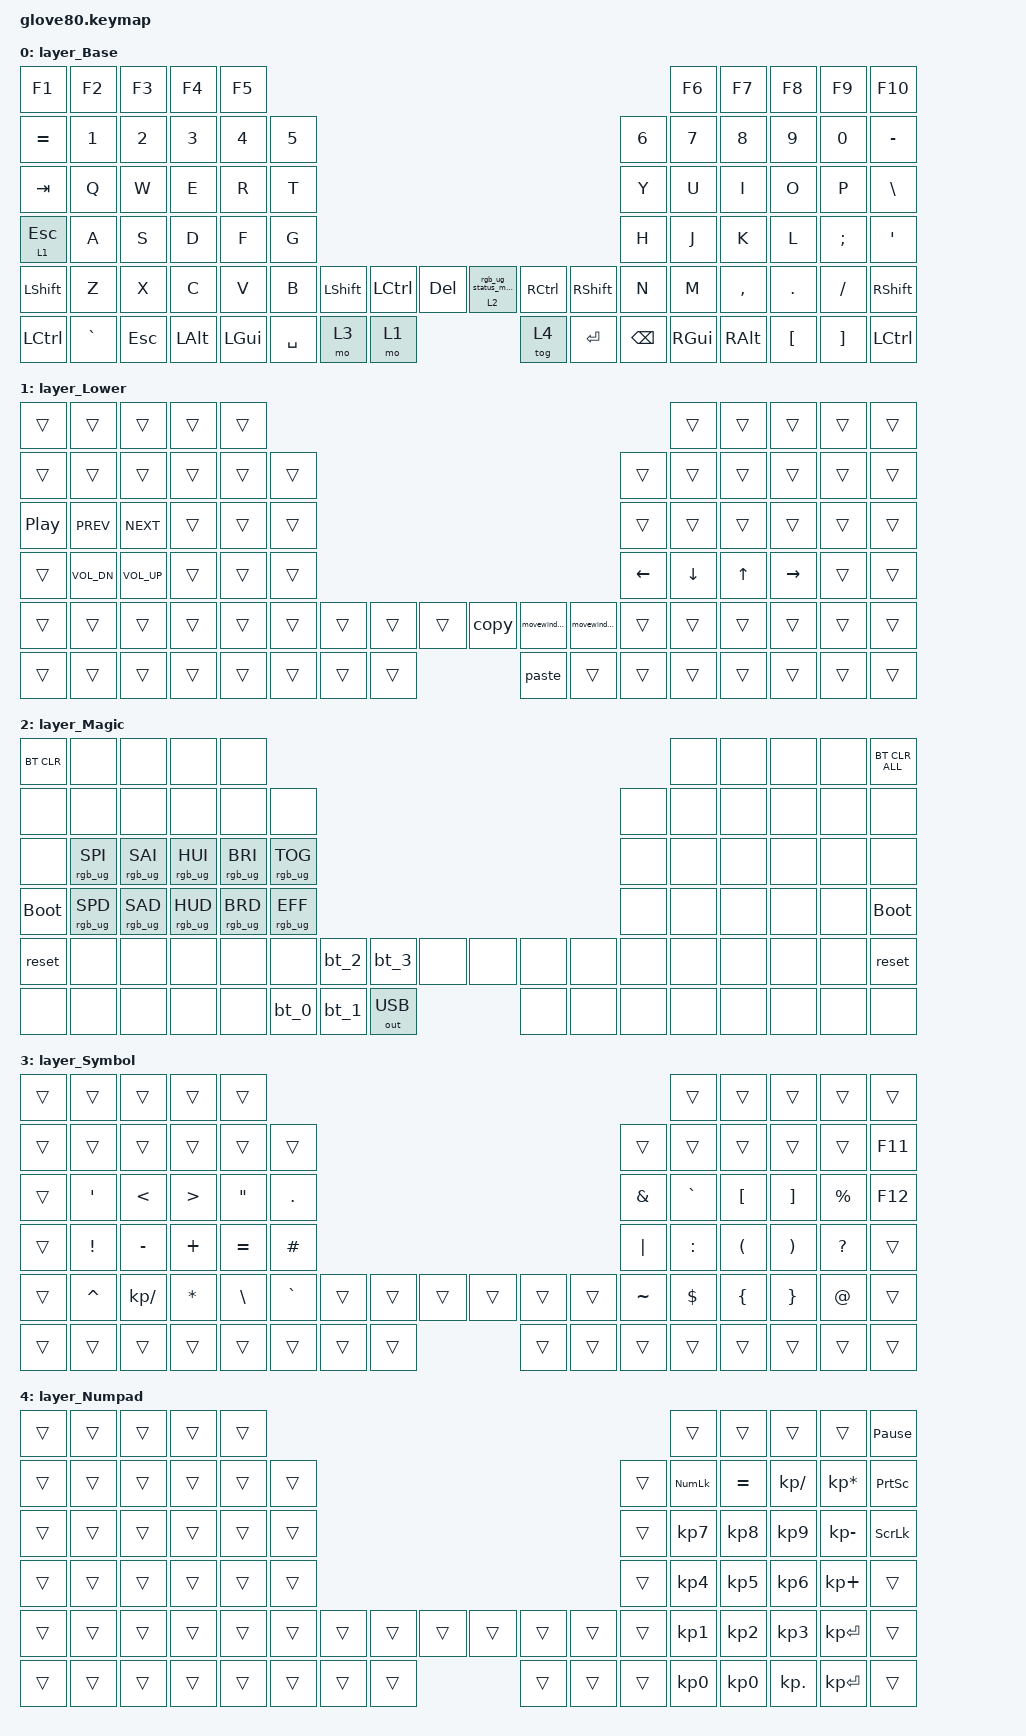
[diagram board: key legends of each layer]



/*
 * Copyright (c) 2020 The ZMK Contributors
 * Copyright (c) 2022 Innaworks Development Limited, trading as MoErgo
 *
 * SPDX-License-Identifier: MIT
 */


/* THIS FILE WAS GENERATED BY GLOVE80 LAYOUT EDITOR
 *
 * This file was generated automatically. You may or may not want to
 * edit it directly.
 */

#include <behaviors.dtsi>
/* Include all behaviour includes needed by system behaviors/macros */
#include <dt-bindings/zmk/outputs.h>

/* Include behaviour includes needed by key binds - automatically generated */
#include <dt-bindings/zmk/keys.h>
#include <dt-bindings/zmk/bt.h>
#include <dt-bindings/zmk/rgb.h>
#include <dt-bindings/zmk/outputs.h>


/ {
    macros {
        rgb_ug_status_macro: rgb_ug_status_macro_0 {
            label = "RGB_UG_STATUS";
            compatible = "zmk,behavior-macro";
            #binding-cells = <0>;
            bindings
                = <&rgb_ug RGB_STATUS>;
        };
     copy: copy {
          compatible = "zmk,behavior-macro";
          label = "COPY";
          #binding-cells = <0>;
          bindings
            = <&macro_press &kp LGUI>
            , <&macro_tap &kp C>
            , <&macro_release &kp LGUI>;
      };
      paste: paste {
          compatible = "zmk,behavior-macro";
          label = "PASTE";
          #binding-cells = <0>;
          bindings
            = <&macro_press &kp LGUI>
            , <&macro_tap &kp V>
            , <&macro_release &kp LGUI>;
      };
      selectall: selectall {
          compatible = "zmk,behavior-macro";
          label = "SELECTALL";
          #binding-cells = <0>;
          bindings
            = <&macro_press &kp LGUI>
            , <&macro_tap &kp A>
            , <&macro_release &kp LGUI>;
      };
      closewindow: closewindow {
          compatible = "zmk,behavior-macro";
          label = "CLOSEWINDOW";
          #binding-cells = <0>;
          bindings
            = <&macro_press &kp LALT>
            , <&macro_tap &kp F4>
            , <&macro_release &kp LALT>;
      };
      movewindowright: movewindowright {
          compatible = "zmk,behavior-macro";
          label = "MOVEWINDOWRIGHT";
          #binding-cells = <0>;
          bindings
            = <&macro_press &kp LGUI &kp LSHFT>
            , <&macro_tap &kp RIGHT_ARROW>
            , <&macro_release &kp LGUI &kp LSHFT>;
      };
      movewindowleft: movewindowleft {
          compatible = "zmk,behavior-macro";
          label = "MOVEWINDOWLEFT";
          #binding-cells = <0>;
          bindings
            = <&macro_press &kp LGUI &kp LSHFT>
            , <&macro_tap &kp LEFT_ARROW>
            , <&macro_release &kp LGUI &kp LSHFT>;
          };
    };

    macros {
        bt_0: bt_profile_macro_0 {
            label = "BT_0";
            compatible = "zmk,behavior-macro";
            #binding-cells = <0>;
            bindings
                = <&out OUT_BLE>,
                  <&bt BT_SEL 0>;
        };
    };

    macros {
        bt_1: bt_profile_macro_1 {
            label = "BT_1";
            compatible = "zmk,behavior-macro";
            #binding-cells = <0>;
            bindings
                = <&out OUT_BLE>,
                  <&bt BT_SEL 1>;
        };
    };

    macros {
        bt_2: bt_profile_macro_2 {
            label = "BT_2";
            compatible = "zmk,behavior-macro";
            #binding-cells = <0>;
            bindings
                = <&out OUT_BLE>,
                  <&bt BT_SEL 2>;
        };
    };

    macros {
        bt_3: bt_profile_macro_3 {
            label = "BT_3";
            compatible = "zmk,behavior-macro";
            #binding-cells = <0>;
            bindings
                = <&out OUT_BLE>,
                  <&bt BT_SEL 3>;
        };
    };

    magic: magic_hold_tap {
        compatible = "zmk,behavior-hold-tap";
        label = "MAGIC_HOLD_TAP";
        #binding-cells = <2>;
        flavor = "tap-preferred";
        tapping-term-ms = <200>;
        bindings = <&mo>, <&rgb_ug_status_macro>;
    };

    /* Custom Defined Behaviors */


    /* Automatically generated keymap */
    keymap {
        compatible = "zmk,keymap";


        layer_Base {
            bindings = <
    &kp F1     &kp F2   &kp F3    &kp F4    &kp F5                                                                                  &kp F6     &kp F7    &kp F8    &kp F9    &kp F10
 &kp EQUAL     &kp N1   &kp N2    &kp N3    &kp N4  &kp N5                                                                &kp N6    &kp N7     &kp N8    &kp N9    &kp N0  &kp MINUS
   &kp TAB      &kp Q    &kp W     &kp E     &kp R   &kp T                                                                 &kp Y     &kp U      &kp I     &kp O     &kp P   &kp BSLH
    &lt 1 ESC      &kp A    &kp S     &kp D     &kp F   &kp G                                                                 &kp H     &kp J      &kp K     &kp L  &kp SEMI    &kp SQT
 &kp LSHFT      &kp Z    &kp X     &kp C     &kp V   &kp B    &kp LSHFT  &kp LCTRL  &kp DELETE   &magic 2 0  &kp RCTRL  &kp RSHFT   &kp N     &kp M  &kp COMMA   &kp DOT  &kp FSLH  &kp RSHFT
 &kp LCTRL  &kp GRAVE  &kp ESC  &kp LALT  &kp LGUI          &kp SPACE     &mo 3    &mo 1   &tog 4   &kp RET   &kp BSPC          &kp RGUI   &kp RALT  &kp LBKT  &kp RBKT  &kp LCTRL
            >;
        };

        layer_Lower {
            bindings = <
     &trans        &trans        &trans  &trans  &trans                                                                      &trans  &trans     &trans  &trans  &trans
     &trans        &trans        &trans  &trans  &trans  &trans                                                    &trans    &trans  &trans     &trans  &trans  &trans
 &kp C_PP    &kp C_PREV    &kp C_NEXT  &trans  &trans  &trans                                                    &trans    &trans  &trans     &trans  &trans  &trans
     &trans  &kp C_VOL_DN  &kp C_VOL_UP  &trans  &trans  &trans                                                   &kp LEFT  &kp DOWN  &kp UP  &kp RIGHT &trans &trans
     &trans        &trans        &trans  &trans  &trans  &trans  &trans  &trans  &trans  &copy  &movewindowleft  &movewindowright    &trans    &trans  &trans     &trans  &trans  &trans
     &trans        &trans        &trans  &trans  &trans          &trans  &trans  &trans  &paste  &trans  &trans              &trans  &trans     &trans  &trans  &trans
            >;
        };

        layer_Magic {
            bindings = <
  &bt BT_CLR            &none            &none            &none            &none                                                                                  &none   &none   &none   &none  &bt BT_CLR_ALL
       &none            &none            &none            &none            &none            &none                                                         &none   &none   &none   &none   &none           &none
       &none  &rgb_ug RGB_SPI  &rgb_ug RGB_SAI  &rgb_ug RGB_HUI  &rgb_ug RGB_BRI  &rgb_ug RGB_TOG                                                         &none   &none   &none   &none   &none           &none
 &bootloader  &rgb_ug RGB_SPD  &rgb_ug RGB_SAD  &rgb_ug RGB_HUD  &rgb_ug RGB_BRD  &rgb_ug RGB_EFF                                                         &none   &none   &none   &none   &none     &bootloader
      &reset            &none            &none            &none            &none            &none   &bt_2   &bt_3         &none   &none   &none   &none   &none   &none   &none   &none   &none          &reset
       &none            &none            &none            &none            &none                    &bt_0   &bt_1  &out OUT_USB   &none   &none   &none           &none   &none   &none   &none           &none
            >;
        };

        layer_Symbol {
            bindings = <
 &trans     &trans        &trans    &trans     &trans                                                                           &trans    &trans    &trans     &trans   &trans
 &trans     &trans        &trans    &trans     &trans     &trans                                                     &trans     &trans    &trans    &trans     &trans  &kp F11
 &trans    &kp SQT        &kp LT    &kp GT    &kp DQT    &kp DOT                                                   &kp AMPS  &kp GRAVE  &kp LBKT  &kp RBKT  &kp PRCNT  &kp F12
 &trans   &kp EXCL     &kp MINUS  &kp PLUS  &kp EQUAL   &kp HASH                                                   &kp PIPE  &kp COLON  &kp LPAR  &kp RPAR  &kp QMARK   &trans
 &trans  &kp CARET  &kp KP_SLASH  &kp STAR   &kp BSLH  &kp GRAVE  &trans  &trans  &trans  &trans  &trans  &trans  &kp TILDE   &kp DLLR  &kp LBRC  &kp RBRC     &kp AT   &trans
 &trans     &trans        &trans    &trans     &trans             &trans  &trans  &trans  &trans  &trans  &trans                &trans    &trans    &trans     &trans   &trans
            >;
        };

        layer_Numpad {
            bindings = <
 &trans  &trans  &trans  &trans  &trans                                                                      &trans        &trans        &trans           &trans  &kp PAUSE_BREAK
 &trans  &trans  &trans  &trans  &trans  &trans                                                  &trans  &kp KP_NUM  &kp EQUAL  &kp KP_SLASH  &kp KP_MULTIPLY  &kp PRINTSCREEN
 &trans  &trans  &trans  &trans  &trans  &trans                                                  &trans   &kp KP_N7     &kp KP_N8     &kp KP_N9     &kp KP_MINUS   &kp SCROLLLOCK
 &trans  &trans  &trans  &trans  &trans  &trans                                                  &trans   &kp KP_N4     &kp KP_N5     &kp KP_N6      &kp KP_PLUS           &trans
 &trans  &trans  &trans  &trans  &trans  &trans  &trans  &trans  &trans  &trans  &trans  &trans  &trans   &kp KP_N1     &kp KP_N2     &kp KP_N3     &kp KP_ENTER           &trans
 &trans  &trans  &trans  &trans  &trans          &trans  &trans  &trans  &trans  &trans  &trans           &kp KP_N0     &kp KP_N0    &kp KP_DOT     &kp KP_ENTER           &trans
            >;
        };

    };
};
